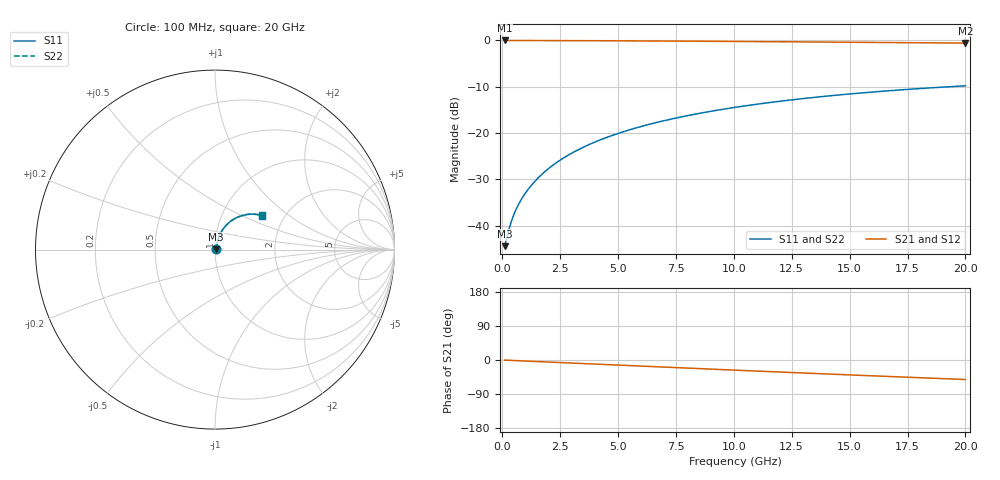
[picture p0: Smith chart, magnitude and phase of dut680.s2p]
! Touchstone file exported from HFSS 2026.1.0
!  File:  C:/ffzhzh/LocalFiles/Ansys_Project_Files/temp_train_TMRDL_680_1783010070_53980.aedt
!  Generated:  12:35:46 AM Jul  3, 2026
!  Design:  TMRDL
!  Project:  temp_train_TMRDL_680_1783010070_53980
! Variables:
!  h_bsmrdl = 2um
!  h_ox = 20um
!  h_rdl = 5um
!  h_sub = 80um
!  h_tmrdl = 2.22um
!  h_tsv = 80um
!  h_via = 3um
!  l_bsmrdl = 300um
!  l_sub = 1235.19um
!  l_tmrdl = 835.19um
!  m_sub = 200um
!  pitch = 40.11um
!  r_tsv = 6um
!  s_tmrdl = 10um
!  w_bsmrdl = 18um
!  w_sub = 500um
!  w_tmrdl = 25.59um
!  x_tsv_center1 = 847.985um
!  x_tsv_center2 = 1165.985um
!  x_tsv_center3 = 2026.765um
!  x_tsv_center4 = 2344.765um
!  x_tsv_center5 = 3205.545um
!  x_tsv_center6 = 3523.545um
# GHz S MA R 50.000000
! Terminal data exported
! Port[1] = TM_RDL1_1_T1
! Port[2] = TM_RDL1_1_T2
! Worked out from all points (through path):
!   200 points, 100 MHz to 20 GHz, reference 50 ohm
!   highest |S21| = -0.05 dB at 100 MHz (marker M1); lowest = -0.6 dB at 20 GHz (marker M2)
!   group delay of S21, straight-line fit = 7.16 ps
!   lowest |S11| = -44.4 dB at 100 MHz (marker M3), VSWR 1.01, Z = 50.6 + j0.249 ohm
!   |S11| at or under -10 dB: start of sweep to 19.36 GHz
!   |S22| runs from -44.4 to -9.8 dB; largest |S21 - S12| = 3e-15
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0.1  0.006045 24.1  0.9945 -0.3  0.9945 -0.3  0.006045 24.1
! Gamma 0 0 0 0
! Port Impedance 50 0 50 0
0.3  0.0094 49.2  0.9939 -0.9  0.9939 -0.9  0.0094 49.2
0.4  0.01134 54.7  0.9936 -1.2  0.9936 -1.2  0.01134 54.7
0.5  0.01326 58.4  0.9933 -1.4  0.9933 -1.4  0.01326 58.4
0.6  0.01516 61.0  0.993 -1.7  0.993 -1.7  0.01516 61.0
0.8  0.01889 64.8  0.9925 -2.3  0.9925 -2.3  0.01889 64.8
1  0.0226 67.4  0.9921 -2.8  0.9921 -2.8  0.0226 67.5
1.2  0.02633 69.3  0.9919 -3.3  0.9919 -3.3  0.02632 69.4
1.7  0.03577 72.2  0.9913 -4.7  0.9913 -4.7  0.03576 72.2
2.2  0.04534 73.4  0.9907 -6.0  0.9907 -6.0  0.04534 73.4
2.8  0.05691 73.7  0.9899 -7.6  0.9899 -7.6  0.0569 73.8
3.5  0.07041 73.4  0.9888 -9.5  0.9888 -9.5  0.07041 73.4
4.2  0.08385 72.5  0.9876 -11.4  0.9876 -11.4  0.08385 72.5
5  0.09907 71.1  0.9859 -13.5  0.9859 -13.5  0.09907 71.2
5.9  0.116 69.3  0.9837 -15.9  0.9837 -15.9  0.1159 69.4
6.8  0.1325 67.4  0.9813 -18.3  0.9813 -18.3  0.1325 67.5
8.3  0.1593 63.9  0.9767 -22.3  0.9767 -22.3  0.1593 64.0
10.1  0.19 59.6  0.9705 -27.0  0.9705 -27.0  0.19 59.7
11.7  0.2157 55.7  0.9644 -31.1  0.9644 -31.1  0.2157 55.9
13.4  0.2413 51.6  0.9577 -35.4  0.9577 -35.4  0.2413 51.8
16.7  0.2857 43.7  0.9444 -43.5  0.9444 -43.5  0.2857 43.9
20  0.3229 35.9  0.9316 -51.5  0.9316 -51.5  0.3229 36.2
